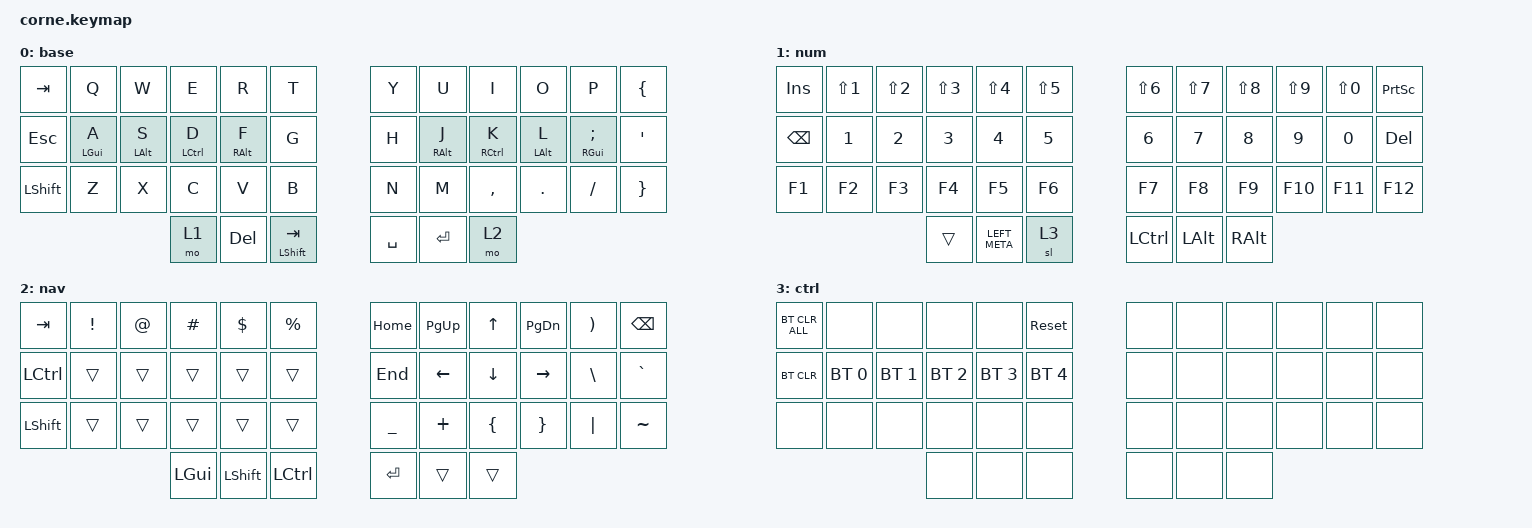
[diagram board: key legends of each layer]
/*
 * Copyright (c) 2020 The ZMK Contributors
 *
 * SPDX-License-Identifier: MIT
 */

#include <behaviors.dtsi>
#include <dt-bindings/zmk/bt.h>
#include <dt-bindings/zmk/keys.h>

/ {
    keymap {
        compatible = "zmk,keymap";

        default_layer {
            // -----------------------------------------------------------------------------------------
            // |  TAB |  Q  |  W  |  E  |  R  |  T  |   |  Y  |  U   |  I  |  O  |  P  | BSPC |
            // | CTRL |  A  |  S  |  D  |  F  |  G  |   |  H  |  J   |  K  |  L  |  ;  |  '   |
            // | SHFT |  Z  |  X  |  C  |  V  |  B  |   |  N  |  M   |  ,  |  .  |  /  | ESC  |
            //                    | GUI | LWR | SPC |   | ENT | RSE  | ALT |

            bindings = <
&kp TAB     &kp Q           &kp W           &kp E        &kp R            &kp T                 &kp Y      &kp U            &kp I                &kp O           &kp P               &kp LEFT_BRACE
&kp ESCAPE  &mt LEFT_GUI A  &mt LEFT_ALT S  &mt LCTRL D  &mt RIGHT_ALT F  &kp G                 &kp H      &mt RIGHT_ALT J  &mt RIGHT_CONTROL K  &mt LEFT_ALT L  &mt RIGHT_GUI SEMI  &kp SQT
&kp LSHFT   &kp Z           &kp X           &kp C        &kp V            &kp B                 &kp N      &kp M            &kp COMMA            &kp DOT         &kp FSLH            &kp RIGHT_BRACE
                                            &mo 1        &kp DELETE       &mt LEFT_SHIFT TAB    &kp SPACE  &kp ENTER        &mo 2
            >;

            label = "base";
        };

        lower_layer {
            // -----------------------------------------------------------------------------------------
            // |  TAB |  1  |  2  |  3  |  4  |  5  |   |  6  |  7  |  8  |  9  |  0  | BSPC |
            // | BTCLR| BT1 | BT2 | BT3 | BT4 | BT5 |   | LFT | DWN |  UP | RGT |     |      |
            // | SHFT |     |     |     |     |     |   |     |     |     |     |     |      |
            //                    | GUI |     | SPC |   | ENT |     | ALT |

            bindings = <
&kp INS        &kp LS(N1)    &kp LS(N2)    &kp LS(N3)    &kp LS(N4)     &kp LS(N5)    &kp LS(N6)        &kp LS(N7)    &kp LS(N8)  &kp LS(N9)  &kp LS(N0)  &kp PRINTSCREEN
&kp BACKSPACE  &kp NUMBER_1  &kp NUMBER_2  &kp NUMBER_3  &kp NUMBER_4   &kp N5        &kp NUMBER_6      &kp N7        &kp N8      &kp N9      &kp N0      &kp DELETE
&kp F1         &kp F2        &kp F3        &kp F4        &kp F5         &kp F6        &kp F7            &kp F8        &kp F9      &kp F10     &kp F11     &kp F12
                                           &trans        &kp LEFT_META  &sl 3         &kp LEFT_CONTROL  &kp LEFT_ALT  &kp RALT
            >;

            label = "num";
        };

        raise_layer {
            // -----------------------------------------------------------------------------------------
            // |  TAB |  !  |  @  |  #  |  $  |  %  |   |  ^  |  &  |  *  |  (  |  )  | BSPC |
            // | CTRL |     |     |     |     |     |   |  -  |  =  |  [  |  ]  |  \  |  `   |
            // | SHFT |     |     |     |     |     |   |  _  |  +  |  {  |  }  | "|" |  ~   |
            //                    | GUI |     | SPC |   | ENT |     | ALT |

            bindings = <
&kp TAB    &kp EXCL  &kp AT  &kp HASH  &kp DLLR        &kp PRCNT           &kp HOME   &kp PG_UP  &kp UP    &kp PG_DN  &kp RPAR  &kp BSPC
&kp LCTRL  &trans    &trans  &trans    &trans          &trans              &kp END    &kp LEFT   &kp DOWN  &kp RIGHT  &kp BSLH  &kp GRAVE
&kp LSHFT  &trans    &trans  &trans    &trans          &trans              &kp UNDER  &kp PLUS   &kp LBRC  &kp RBRC   &kp PIPE  &kp TILDE
                             &kp LGUI  &kp LEFT_SHIFT  &kp LEFT_CONTROL    &kp RET    &trans     &trans
            >;

            label = "nav";
        };

        ctrl {
            bindings = <
&bt BT_CLR_ALL  &none         &none         &none         &none         &sys_reset      &none  &none  &none  &none  &none  &none
&bt BT_CLR      &bt BT_SEL 0  &bt BT_SEL 1  &bt BT_SEL 2  &bt BT_SEL 3  &bt BT_SEL 4    &none  &none  &none  &none  &none  &none
&none           &none         &none         &none         &none         &none           &none  &none  &none  &none  &none  &none
                                            &none         &none         &none           &none  &none  &none
            >;
        };
    };
};
